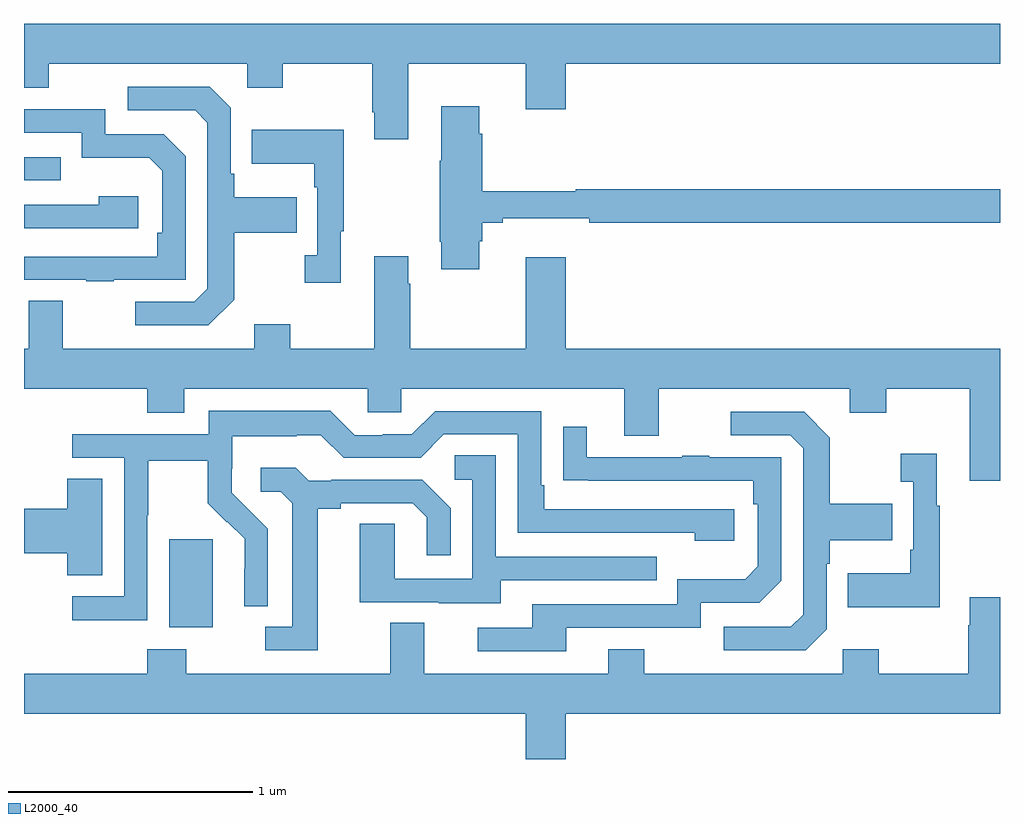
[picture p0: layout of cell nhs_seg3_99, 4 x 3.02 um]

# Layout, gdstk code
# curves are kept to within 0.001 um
import gdstk
lib = gdstk.Library(unit=1e-6, precision=1e-09)
def R(c, l, rs):  # rectangles x0, y0, x1, y1
    for r in rs: c.add(gdstk.rectangle(r[:2], r[2:], *l))
def P(c, l, *ps):  # polygons
    for p in ps: c.add(gdstk.Polygon(p, *l))
L2000_40 = (2000, 40)

nhs_seg3_99 = lib.new_cell('nhs_seg3_99')
R(nhs_seg3_99, L2000_40, [(115.595,705.266,115.774,705.627), (115,707.097,115.151,707.193)])
P(nhs_seg3_99, L2000_40, [(116.575,707.576),(117.056,707.576),(117.056,707.388),(117.22,707.388),(117.22,707.576),(119,707.576),(119,707.74),(115,707.74),(115,707.477),(115.101,707.477),(115.101,707.576),(115.914,707.576),(115.914,707.477),(116.061,707.477),(116.061,707.576),(116.428,707.576),(116.428,707.377),(116.435,707.377),(116.435,707.265),(116.575,707.265)],
  [(115.861,706.609),(115.861,706.882),(116.117,706.882),(116.117,707.029),(115.861,707.029),(115.861,707.125),(115.848,707.125),(115.848,707.394),(115.761,707.481),(115.425,707.481),(115.425,707.385),(115.701,707.385),(115.752,707.334),(115.752,706.653),(115.698,706.599),(115.455,706.599),(115.455,706.503),(115.755,706.503)],
  [(116.866,706.847),(116.879,706.847),(116.879,706.924),(116.962,706.924),(116.962,706.943),(117.316,706.943),(117.316,706.924),(119,706.924),(119,707.06),(117.262,707.06),(117.262,707.053),(116.879,707.053),(116.879,707.288),(116.866,707.288),(116.866,707.401),(116.711,707.401),(116.711,707.177),(116.704,707.177),(116.704,706.846),(116.711,706.846),(116.711,706.734),(116.866,706.734)],
  [(115.367,706.689),(115.662,706.689),(115.662,707.196),(115.572,707.286),(115.332,707.286),(115.332,707.388),(115,707.388),(115,707.292),(115.236,707.292),(115.236,707.189),(115.513,707.189),(115.566,707.136),(115.566,706.882),(115.546,706.882),(115.546,706.785),(115,706.785),(115,706.689),(115.255,706.689),(115.255,706.684),(115.367,706.684)],
  [(116.299,706.889),(116.311,706.889),(116.311,707.305),(115.933,707.305),(115.933,707.165),(116.19,707.165),(116.19,707.069),(116.202,707.069),(116.202,706.79),(116.151,706.79),(116.151,706.677),(116.299,706.677)],
  [(115.468,707.032),(115.307,707.032),(115.307,706.998),(115,706.998),(115,706.902),(115.468,706.902)],
  [(119,706.408),(117.22,706.408),(117.22,706.783),(117.056,706.783),(117.056,706.408),(116.583,706.408),(116.583,706.673),(116.575,706.673),(116.575,706.786),(116.435,706.786),(116.435,706.408),(116.091,706.408),(116.091,706.507),(115.943,706.507),(115.943,706.408),(115.159,706.408),(115.159,706.603),(115.019,706.603),(115.019,706.408),(115,706.408),(115,706.244),(115.505,706.244),(115.505,706.145),(115.657,706.145),(115.657,706.244),(116.409,706.244),(116.409,706.146),(116.547,706.146),(116.547,706.244),(117.461,706.244),(117.461,706.05),(117.601,706.05),(117.601,706.244),(118.385,706.244),(118.385,706.145),(118.533,706.145),(118.533,706.244),(118.877,706.244),(118.877,705.867),(119,705.867)],
  [(115.506,705.724),(115.509,705.724),(115.509,705.948),(115.753,705.948),(115.753,705.773),(115.83,705.696),(115.833,705.699),(115.904,705.629),(115.904,705.506),(115.902,705.506),(115.902,705.352),(115.998,705.352),(115.998,705.67),(115.852,705.818),(115.852,705.915),(115.854,705.915),(115.854,706.049),(116.117,706.049),(116.117,706.053),(116.217,706.053),(116.31,705.96),(116.625,705.96),(116.721,706.056),(117.024,706.056),(117.024,705.654),(117.749,705.654),(117.749,705.62),(117.91,705.62),(117.91,705.75),(117.133,705.75),(117.133,705.847),(117.12,705.847),(117.12,706.152),(116.685,706.152),(116.589,706.056),(116.471,706.056),(116.471,706.053),(116.355,706.053),(116.255,706.153),(115.758,706.153),(115.758,706.056),(115.197,706.056),(115.197,705.96),(115.41,705.96),(115.41,705.393),(115.197,705.393),(115.197,705.295),(115.506,705.295)],
  [(118.29,705.258),(118.29,705.527),(118.303,705.527),(118.303,705.623),(118.559,705.623),(118.559,705.771),(118.303,705.771),(118.303,706.043),(118.197,706.149),(117.897,706.149),(117.897,706.053),(118.14,706.053),(118.194,705.999),(118.194,705.318),(118.143,705.267),(117.867,705.267),(117.867,705.171),(118.203,705.171)],
  [(117.223,705.264),(117.774,705.264),(117.774,705.366),(118.014,705.366),(118.104,705.456),(118.104,705.963),(117.809,705.963),(117.809,705.968),(117.697,705.968),(117.697,705.963),(117.307,705.963),(117.307,706.087),(117.211,706.087),(117.211,705.868),(117.988,705.867),(117.988,705.77),(118.008,705.77),(118.008,705.516),(117.955,705.463),(117.678,705.463),(117.678,705.36),(117.083,705.36),(117.083,705.264),(116.859,705.264),(116.859,705.168),(117.223,705.168)],
  [(118.753,705.763),(118.741,705.763),(118.741,705.976),(118.593,705.976),(118.593,705.863),(118.644,705.863),(118.644,705.583),(118.632,705.583),(118.632,705.487),(118.375,705.487),(118.375,705.347),(118.753,705.347)],
  [(116.953,705.459),(117.593,705.459),(117.593,705.555),(116.934,705.555),(116.934,705.971),(116.766,705.971),(116.766,705.87),(116.838,705.87),(116.838,705.465),(116.52,705.465),(116.52,705.689),(116.375,705.689),(116.375,705.369),(116.699,705.369),(116.699,705.365),(116.953,705.365)],
  [(116.203,705.752),(116.299,705.752),(116.299,705.774),(116.594,705.774),(116.651,705.717),(116.651,705.561),(116.748,705.561),(116.748,705.754),(116.632,705.87),(116.26,705.87),(116.26,705.867),(116.166,705.867),(116.114,705.919),(115.971,705.919),(115.971,705.822),(116.052,705.822),(116.099,705.775),(116.099,705.267),(115.989,705.267),(115.989,705.171),(116.203,705.171)],
  [(115.321,705.875),(115.178,705.875),(115.178,705.752),(115,705.752),(115,705.569),(115.178,705.569),(115.178,705.478),(115.321,705.478)],
  [(117.22,704.912),(119,704.912),(119,705.388),(118.877,705.388),(118.877,705.275),(118.87,705.275),(118.87,705.076),(118.503,705.076),(118.503,705.175),(118.356,705.175),(118.356,705.076),(117.543,705.076),(117.543,705.175),(117.395,705.175),(117.395,705.076),(116.641,705.076),(116.641,705.284),(116.501,705.284),(116.501,705.076),(115.665,705.076),(115.665,705.175),(115.505,705.175),(115.505,705.076),(115,705.076),(115,704.912),(117.056,704.912),(117.056,704.724),(117.22,704.724)])

lib.write_gds('nhs_seg3_99.gds')
